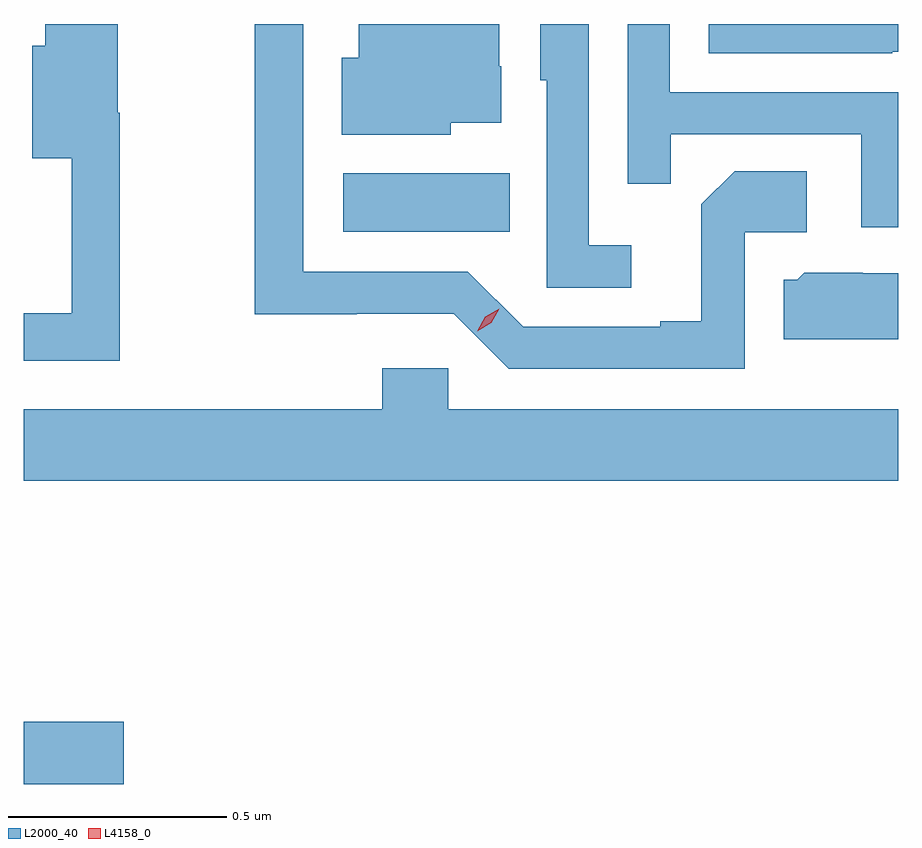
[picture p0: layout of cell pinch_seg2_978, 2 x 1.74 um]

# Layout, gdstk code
import gdstk
lib = gdstk.Library(unit=1e-6, precision=1e-09)
def R(c, l, rs):  # rectangles x0, y0, x1, y1
    for r in rs: c.add(gdstk.rectangle(r[:2], r[2:], *l))
def P(c, l, *ps):  # polygons
    for p in ps: c.add(gdstk.Polygon(p, *l))
L2000_40 = (2000, 40)
L4158_0 = (4158, 0)

pinch_seg2_978 = lib.new_cell('pinch_seg2_978')
R(pinch_seg2_978, L2000_40, [(325.123,653.602,325.351,653.744), (325.854,654.866,326.234,655)])
P(pinch_seg2_978, L2000_40, [(326.512,654.835),(326.415,654.835),(326.415,655.341),(326.304,655.341),(326.304,655.212),(326.319,655.212),(326.319,654.738),(326.512,654.738)],
  [(326.1,655.115),(326.215,655.115),(326.215,655.244),(326.211,655.244),(326.211,655.341),(325.889,655.341),(325.889,655.264),(325.85,655.264),(325.85,655.088),(326.1,655.088)],
  [(327.123,655.185),(326.601,655.185),(326.601,655.341),(326.505,655.341),(326.505,654.976),(326.603,654.976),(326.603,655.089),(327.039,655.089),(327.039,654.876),(327.123,654.876)],
  [(327.11,655.278),(327.123,655.278),(327.123,655.341),(326.69,655.341),(326.69,655.274),(327.11,655.274)],
  [(326.772,654.864),(326.914,654.864),(326.914,655.004),(326.749,655.004),(326.673,654.928),(326.673,654.661),(326.579,654.661),(326.579,654.648),(326.265,654.648),(326.139,654.774),(325.762,654.774),(325.762,655.341),(325.651,655.341),(325.651,654.677),(325.884,654.677),(325.884,654.678),(326.106,654.678),(326.232,654.552),(326.772,654.552)],
  [(325.342,655.138),(325.338,655.138),(325.338,655.341),(325.172,655.341),(325.172,655.291),(325.142,655.291),(325.142,655.034),(325.232,655.034),(325.232,654.679),(325.123,654.679),(325.123,654.57),(325.342,654.57)],
  [(327.123,654.771),(327.042,654.771),(327.042,654.772),(326.908,654.772),(326.892,654.756),(326.861,654.756),(326.861,654.62),(327.123,654.62)],
  [(327.123,654.46),(326.094,654.46),(326.094,654.553),(325.943,654.553),(325.943,654.46),(325.123,654.46),(325.123,654.296),(327.123,654.296)])
P(pinch_seg2_978, L4158_0, [(326.16,654.638),(326.16,654.638),(326.178,654.671),(326.21,654.69),(326.21,654.69),(326.21,654.689),(326.192,654.657),(326.16,654.638)])

lib.write_gds('pinch_seg2_978.gds')
